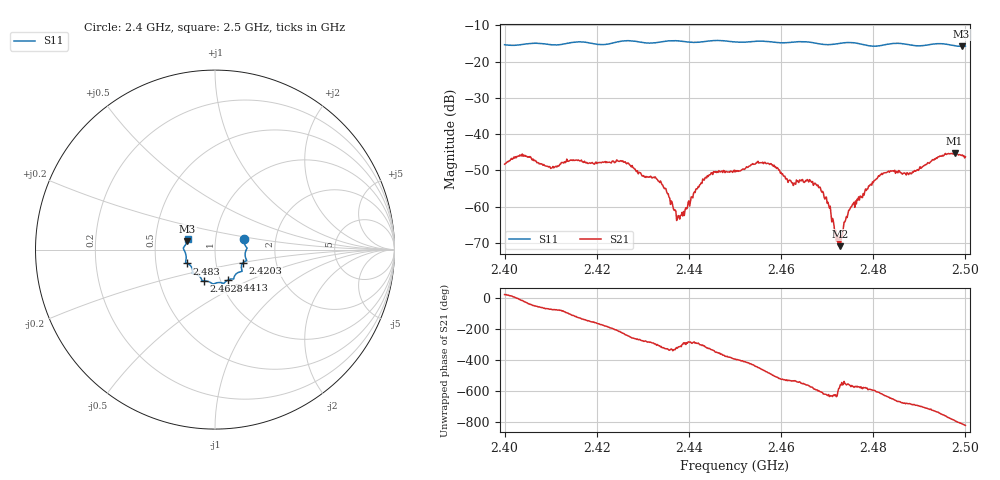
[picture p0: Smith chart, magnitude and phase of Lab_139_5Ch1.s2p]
# Hz S RI R 50
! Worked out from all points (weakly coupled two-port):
!   601 points, 2.4 GHz to 2.5 GHz, reference 50 ohm
!   highest |S21| = -45.26 dB at 2.4977 GHz (marker M1); lowest = -70.8 dB at 2.4728 GHz (marker M2)
!   lowest |S11| = -15.8 dB at 2.4992 GHz (marker M3), VSWR 1.39, Z = 36.4 + j3.54 ohm
!   |S11| at or under -10 dB: start of sweep to end of sweep
!   S12 and S22 are empty: the file has one direction only
!   S11 on the Smith chart (normalised r, x): 2.4 GHz: 1.37, +0.16; 2.4203 GHz: 1.35, -0.21; 2.4413 GHz: 1.09, -0.38; 2.4628 GHz: 0.83, -0.30; 2.483 GHz: 0.72, -0.11; 2.5 GHz: 0.73, +0.09
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2.4e9  0.1607 0.0571  0.00359 0.00142  0 0  0 0
2.403667e9  0.1698 0.0204  0.00483 -0.00139  0 0  0 0
2.410167e9  0.1699 -0.0118  0.000904 -0.0033  0 0  0 0
2.416667e9  0.1762 -0.0615  -0.00314 -0.00308  0 0  0 0
2.420333e9  0.1553 -0.0741  -0.00397 -0.000888  0 0  0 0
2.425667e9  0.1513 -0.118  -0.00286 0.00318  0 0  0 0
2.433333e9  0.108 -0.1485  0.00136 0.00181  0 0  0 0
2.437833e9  0.1005 -0.1639  0.000538 0.000524  0 0  0 0
2.441333e9  0.0745 -0.1678  0.000617 0.00144  0 0  0 0
2.445333e9  0.0516 -0.1873  0.00287 0.00103  0 0  0 0
2.45e9  0.0292 -0.1838  0.00242 -0.00178  0 0  0 0
2.456833e9  -0.0159 -0.1888  -0.00181 -0.00348  0 0  0 0
2.462833e9  -0.063 -0.1748  -0.00212 -7.75e-05  0 0  0 0
2.466667e9  -0.0742 -0.1676  -0.00175 0.00128  0 0  0 0
2.470167e9  -0.0938 -0.1428  2.92e-05 0.00115  0 0  0 0
2.472833e9  -0.1172 -0.1346  -0.000266 0.000107  0 0  0 0
2.475333e9  -0.1252 -0.1326  -0.000914 0.000441  0 0  0 0
2.483e9  -0.1547 -0.0769  0.000405 0.00296  0 0  0 0
2.483333e9  -0.1569 -0.0757  0.000668 0.00303  0 0  0 0
2.497667e9  -0.1625 0.0296  0.00166 -0.0052  0 0  0 0
2.499167e9  -0.1548 0.0472  -0.000257 -0.00509  0 0  0 0
2.5e9  -0.1524 0.0584  -0.0012 -0.00472  0 0  0 0
